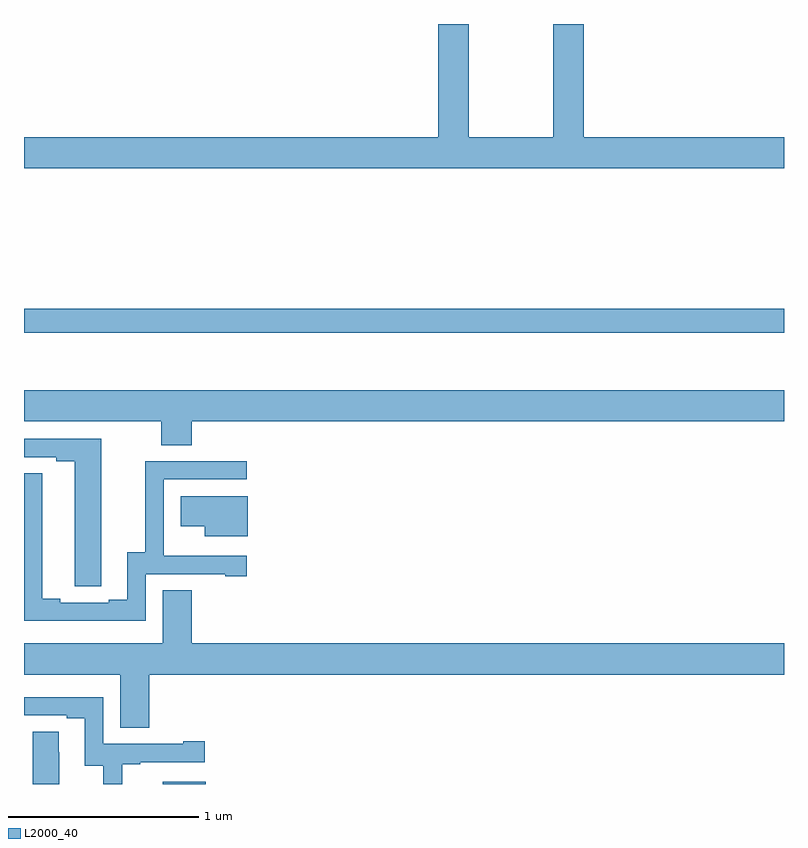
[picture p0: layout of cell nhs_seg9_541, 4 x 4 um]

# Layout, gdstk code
import gdstk
lib = gdstk.Library(unit=1e-6, precision=1e-09)
def R(c, l, rs):  # rectangles x0, y0, x1, y1
    for r in rs: c.add(gdstk.rectangle(r[:2], r[2:], *l))
def P(c, l, *ps):  # polygons
    for p in ps: c.add(gdstk.Polygon(p, *l))
L2000_40 = (2000, 40)

nhs_seg9_541 = lib.new_cell('nhs_seg9_541')
R(nhs_seg9_541, L2000_40, [(137.729,1206.5,137.956,1206.511), (137,1208.874,141,1209.002)])
P(nhs_seg9_541, L2000_40, [(141,1209.904),(139.946,1209.904),(139.946,1210.5),(139.786,1210.5),(139.786,1209.904),(139.341,1209.904),(139.341,1210.5),(139.181,1210.5),(139.181,1209.904),(137,1209.904),(137,1209.74),(141,1209.74)],
  [(137.882,1208.408),(141,1208.408),(141,1208.572),(137,1208.572),(137,1208.408),(137.722,1208.408),(137.722,1208.284),(137.882,1208.284)],
  [(137.406,1207.648),(137.407,1207.648),(137.407,1208.316),(137,1208.316),(137,1208.22),(137.171,1208.22),(137.171,1208.2),(137.267,1208.2),(137.267,1207.54),(137.406,1207.54)],
  [(137.64,1207.605),(138.059,1207.605),(138.059,1207.593),(138.172,1207.593),(138.172,1207.701),(137.738,1207.701),(137.738,1207.702),(137.736,1207.702),(137.736,1208.103),(138.172,1208.103),(138.172,1208.199),(137.638,1208.199),(137.638,1207.721),(137.543,1207.721),(137.543,1207.47),(137.447,1207.47),(137.447,1207.455),(137.191,1207.455),(137.191,1207.475),(137.095,1207.475),(137.095,1208.135),(137,1208.135),(137,1207.359),(137.64,1207.359)],
  [(138.178,1208.014),(137.826,1208.014),(137.826,1207.856),(137.951,1207.856),(137.951,1207.805),(138.178,1207.805)],
  [(137.66,1207.076),(141,1207.076),(141,1207.24),(137.882,1207.24),(137.882,1207.52),(137.729,1207.52),(137.729,1207.24),(137,1207.24),(137,1207.076),(137.507,1207.076),(137.507,1206.796),(137.66,1206.796)],
  [(137.516,1206.603),(137.611,1206.603),(137.611,1206.615),(137.95,1206.615),(137.95,1206.724),(137.837,1206.724),(137.837,1206.711),(137.418,1206.711),(137.418,1206.957),(137,1206.957),(137,1206.861),(137.225,1206.861),(137.225,1206.846),(137.321,1206.846),(137.321,1206.595),(137.416,1206.595),(137.416,1206.5),(137.516,1206.5)],
  [(137.185,1206.668),(137.184,1206.668),(137.184,1206.776),(137.045,1206.776),(137.045,1206.5),(137.185,1206.5)])

lib.write_gds('nhs_seg9_541.gds')
